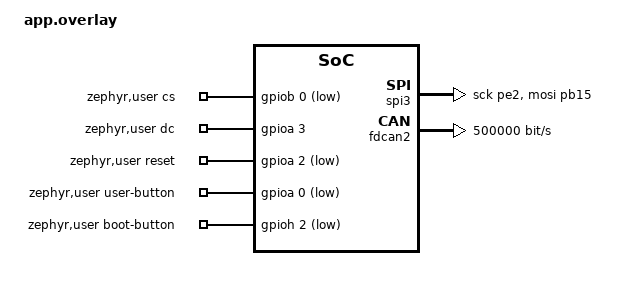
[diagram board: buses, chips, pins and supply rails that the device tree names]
/* Console V1.0: SPI display plus K1/D0 and K2/BOOT as runtime keys. */
/ {
    zephyr,user {
        cs-gpios = <&gpiob 0 GPIO_ACTIVE_LOW>;
        dc-gpios = <&gpioa 3 GPIO_ACTIVE_HIGH>;
        reset-gpios = <&gpioa 2 GPIO_ACTIVE_LOW>;
        user-button-gpios = <&gpioa 0 (GPIO_PULL_UP | GPIO_ACTIVE_LOW)>;
        boot-button-gpios = <&gpioh 2 (GPIO_PULL_UP | GPIO_ACTIVE_LOW)>;
    };
};
&spi3 {
    pinctrl-0 = <&spi3_sck_pe2 &spi3_mosi_pb15>;
    pinctrl-names = "default";
    status = "okay";
};
&adc1 { status = "disabled"; };
&fdcan1 { status = "disabled"; };
&fdcan2 {
    bitrate = <500000>;
    bitrate-data = <2000000>;
    status = "okay";
};

&ext_flash {
    partitions {
        compatible = "fixed-partitions";
        #address-cells = <1>;
        #size-cells = <1>;

        capture_log_partition: partition@800000 {
            label = "can-capture-log";
            reg = <0x800000 0x7fc000>;
        };
        capture_snapshot_partition: partition@ffc000 {
            label = "can-capture-snapshot";
            reg = <0xffc000 0x4000>;
        };
    };
};
